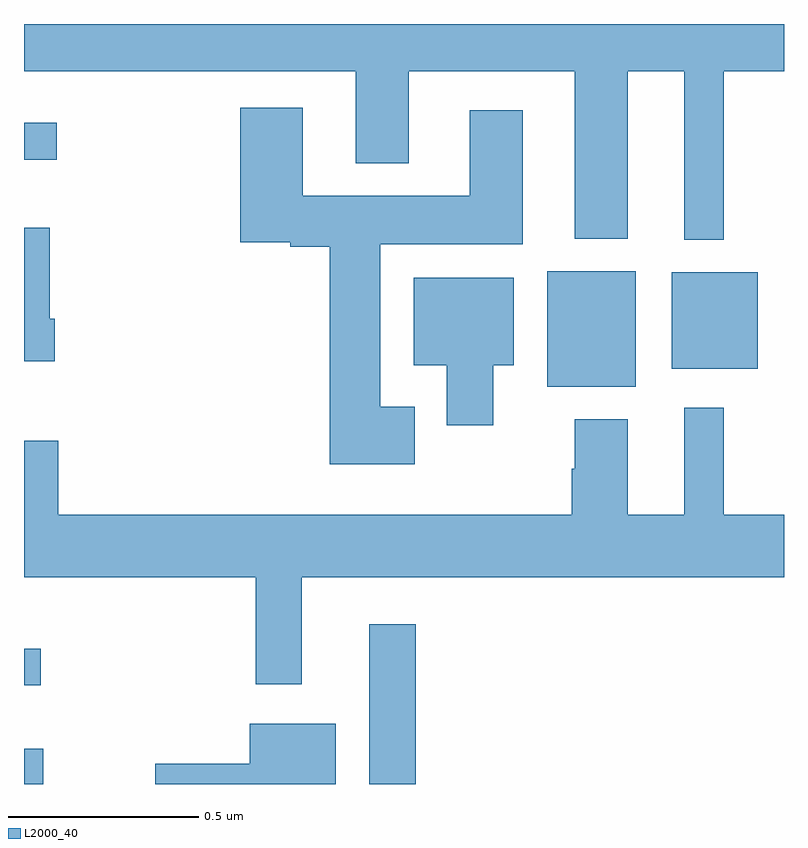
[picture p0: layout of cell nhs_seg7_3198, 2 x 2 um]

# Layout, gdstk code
import gdstk
lib = gdstk.Library(unit=1e-6, precision=1e-09)
def R(c, l, rs):  # rectangles x0, y0, x1, y1
    for r in rs: c.add(gdstk.rectangle(r[:2], r[2:], *l))
def P(c, l, *ps):  # polygons
    for p in ps: c.add(gdstk.Polygon(p, *l))
L2000_40 = (2000, 40)

nhs_seg7_3198 = lib.new_cell('nhs_seg7_3198')
R(nhs_seg7_3198, L2000_40, [(155,1072,155.05,1072.093), (155.909,1072,156.031,1072.42), (155,1072.26,155.044,1072.356), (156.377,1073.045,156.61,1073.35), (156.704,1073.093,156.931,1073.347), (155,1073.643,155.086,1073.74)])
P(nhs_seg7_3198, L2000_40, [(156.841,1073.876),(157,1073.876),(157,1074),(155,1074),(155,1073.876),(155.873,1073.876),(155.873,1073.633),(156.013,1073.633),(156.013,1073.876),(156.449,1073.876),(156.449,1073.435),(156.589,1073.435),(156.589,1073.876),(156.737,1073.876),(156.737,1073.432),(156.841,1073.432)],
  [(156.028,1072.993),(155.938,1072.993),(155.938,1073.42),(156.313,1073.42),(156.313,1073.773),(156.173,1073.773),(156.173,1073.548),(155.734,1073.548),(155.734,1073.779),(155.569,1073.779),(155.569,1073.426),(155.7,1073.426),(155.7,1073.414),(155.804,1073.414),(155.804,1072.841),(156.028,1072.841)],
  [(155.081,1073.224),(155.068,1073.224),(155.068,1073.464),(155,1073.464),(155,1073.112),(155.081,1073.112)],
  [(156.235,1073.102),(156.289,1073.102),(156.289,1073.332),(156.026,1073.332),(156.026,1073.102),(156.113,1073.102),(156.113,1072.944),(156.235,1072.944)],
  [(155.731,1072.544),(157,1072.544),(157,1072.708),(156.841,1072.708),(156.841,1072.99),(156.737,1072.99),(156.737,1072.708),(156.589,1072.708),(156.589,1072.96),(156.449,1072.96),(156.449,1072.829),(156.442,1072.829),(156.442,1072.708),(155.09,1072.708),(155.09,1072.903),(155,1072.903),(155,1072.544),(155.61,1072.544),(155.61,1072.263),(155.731,1072.263)],
  [(155.821,1072.159),(155.594,1072.159),(155.594,1072.053),(155.346,1072.053),(155.346,1072),(155.821,1072)])

lib.write_gds('nhs_seg7_3198.gds')
